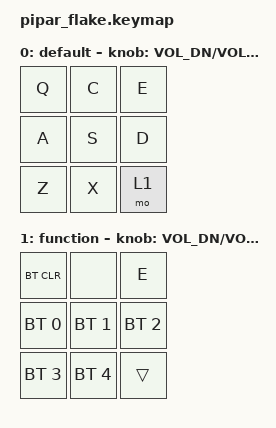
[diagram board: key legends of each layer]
/*
 * Copyright (c) 2022 The ZMK Contributors
 *
 * SPDX-License-Identifier: MIT
 */

#include <behaviors.dtsi>
#include <dt-bindings/zmk/bt.h>
#include <dt-bindings/zmk/keys.h>

#define BASE        0
#define FUNC        1

/ {
    sensors: sensors {
        compatible = "zmk,keymap-sensors";
        sensors = <&encoder_1>;
        triggers-per-rotation = <24>;
    };

    keymap {
        compatible = "zmk,keymap";

        default_layer {
            // ---------------------------//
            // | Q    | W     | ENCODER | //
            // | A    | S     | D       | //
            // | Z    | X     | FN      | //

            display-name = "default";
            bindings = <
&kp Q  &kp C  &kp E
&kp A  &kp S  &kp D
&kp Z  &kp X  &mo 1
            >;

            sensor-bindings = <&inc_dec_kp C_VOL_DN C_VOL_UP>;
        };

        function_layer {
            // --------------------------- //
            // | BT_CLR | none | ENCODER | //
            // | BT_0   | BT_1 | BT_2    | //
            // | BT_3   | BT_4 | trans   | //

            display-name = "function";
            bindings = <
&bt BT_CLR    &none         &kp E
&bt BT_SEL 0  &bt BT_SEL 1  &bt BT_SEL 2
&bt BT_SEL 3  &bt BT_SEL 4  &trans
            >;

            sensor-bindings = <&inc_dec_kp C_VOL_DN C_VOL_UP>;
        };
    };
};
